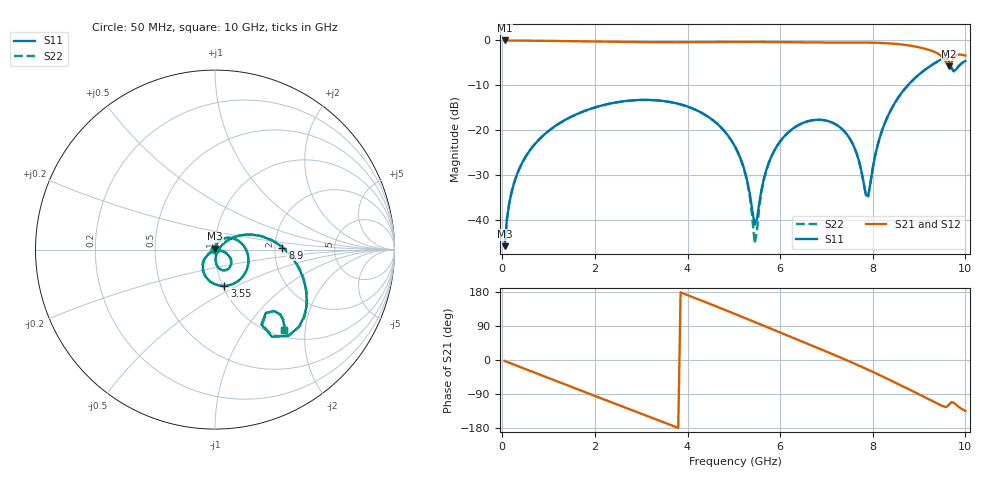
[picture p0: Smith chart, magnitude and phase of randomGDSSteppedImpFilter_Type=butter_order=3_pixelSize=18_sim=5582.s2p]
! freq	dB(S11)	phase(S11)	dB(S12)	phase(S12)
!  dB(S21)	phase(S21)	dB(S22)	phase(S22)
!S-par simulation data
#  GHz  S  DB  R 50
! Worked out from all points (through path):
!   200 points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, 50 MHz to 10 GHz, reference 50 ohm
!   highest |S21| = 0.00 dB at 50 MHz (marker M1); lowest = -5.7 dB at 9.65 GHz (marker M2)
!   group delay of S21, straight-line fit = 138 ps
!   lowest |S11| = -45.9 dB at 50 MHz (marker M3), VSWR 1.01, Z = 50 + j0.507 ohm
!   |S11| at or under -10 dB: start of sweep to 8.759 GHz
!   |S22| runs from -45.9 to -3.9 dB; largest |S21 - S12| = 0
!   S11 on the Smith chart (normalised r, x): 50 MHz: 1.00, +0.01; 3.55 GHz: 1.02, -0.43; 8.9 GHz: 2.20, +0.06; 10 GHz: 1.11, -1.54
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0.05  -45.88 86.6  -0.00 -2.4  -0.00 -2.4  -45.88 86.6
0.2  -33.87 80.0  -0.02 -9.6  -0.02 -9.6  -33.87 80.0
0.5  -26.00 65.8  -0.05 -23.9  -0.05 -23.9  -26.00 65.7
1.75  -15.83 7.4  -0.21 -83.1  -0.21 -83.1  -15.84 7.1
2.5  -13.75 -27.4  -0.33 -118.3  -0.33 -118.3  -13.75 -27.8
3.4  -13.42 -68.8  -0.40 -160.4  -0.40 -160.4  -13.42 -69.5
3.55  -13.61 -75.7  -0.41 -167.4  -0.41 -167.4  -13.62 -76.4
4.3  -16.11 -109.9  -0.38 156.9  -0.38 156.9  -16.12 -111.1
5.05  -24.15 -140.9  -0.33 120.2  -0.33 120.2  -24.21 -144.3
5.3  -31.80 -141.5  -0.33 107.8  -0.33 107.8  -32.15 -149.5
5.45  -41.10 -89.6  -0.33 100.3  -0.33 100.3  -45.29 -95.9
5.6  -33.12 -17.9  -0.34 92.7  -0.34 92.7  -33.53 -8.9
5.85  -25.04 -16.2  -0.36 80.2  -0.36 80.2  -25.09 -12.7
6.7  -17.80 -51.6  -0.46 37.4  -0.46 37.4  -17.80 -50.5
7.45  -21.08 -83.4  -0.48 -1.2  -0.48 -1.2  -21.08 -82.8
7.9  -34.73 -10.5  -0.49 -25.7  -0.49 -25.7  -34.74 -9.9
8.1  -23.54 35.7  -0.53 -37.0  -0.53 -37.0  -23.54 36.3
8.35  -16.35 30.2  -0.65 -51.6  -0.65 -51.6  -16.35 30.7
8.9  -8.50 1.8  -1.33 -84.6  -1.33 -84.6  -8.50 2.2
9.45  -4.39 -32.8  -3.22 -118.3  -3.22 -118.3  -4.38 -32.3
9.65  -4.73 -56.8  -5.74 -117.5  -5.74 -117.5  -4.70 -56.3
10  -4.56 -49.6  -3.35 -134.3  -3.35 -134.3  -4.56 -49.4
